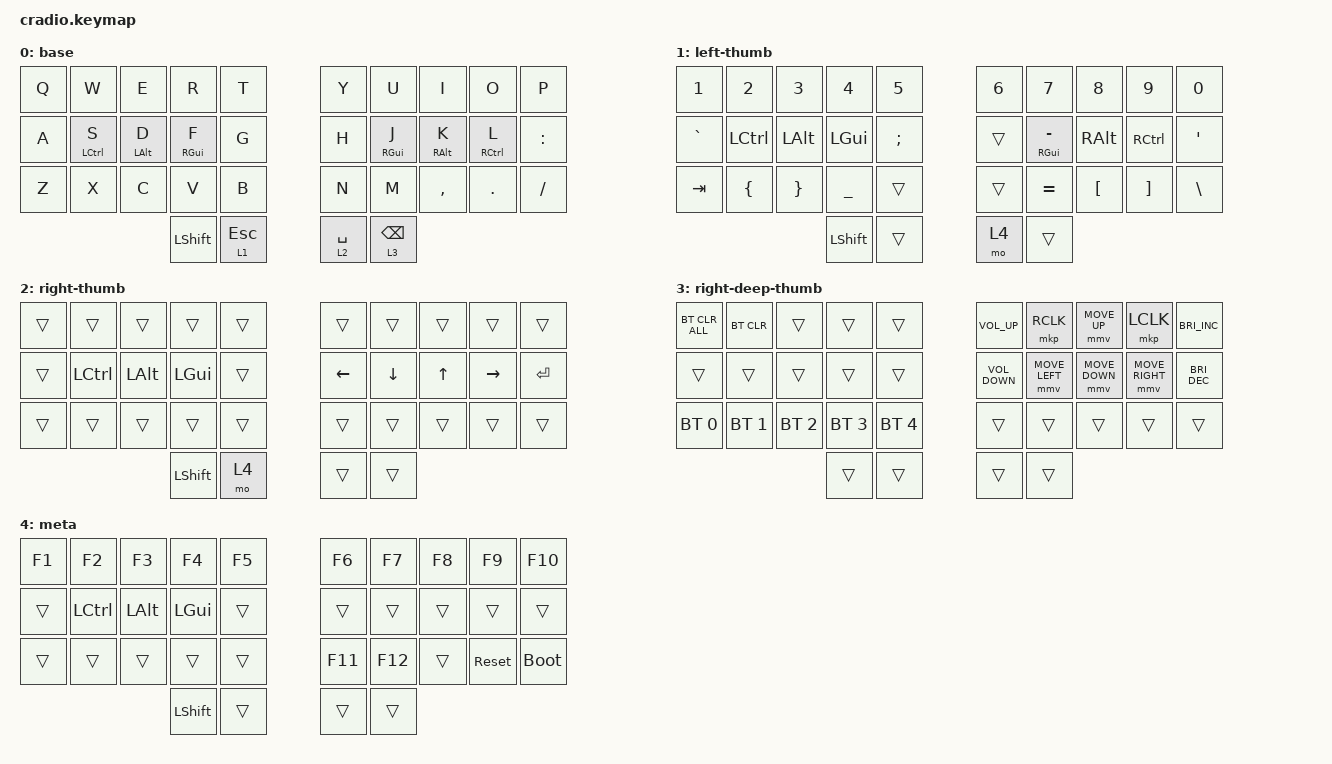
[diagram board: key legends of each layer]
// Copyright (c) 2022 The ZMK Contributors
// SPDX-License-Identifier: MIT

#define ZMK_POINTING_DEFAULT_MOVE_VAL 1500 // default 600

#include <behaviors.dtsi>
#include <dt-bindings/zmk/bt.h>
#include <dt-bindings/zmk/keys.h>
#include <dt-bindings/zmk/pointing.h>

// Home row mods macro
// #define HRML(k1,k2,k3,k4) &ht LSHFT k1  &ht LALT k2  &ht LCTRL k3  &ht LGUI k4
// #define HRMR(k1,k2,k3,k4) &ht RGUI k1  &ht RCTRL k2  &ht RALT k3  &ht RSHFT k4

&mt {
    tapping-term-ms = <200>;
    flavor = "tap-preferred";
};

/ {
    conditional_layers { compatible = "zmk,conditional-layers"; };

    combos {
        compatible = "zmk,combos";
    };

    keymap {
        compatible = "zmk,keymap";

        // layer 0
        base {
            bindings = <
// ╭───────────┬───────────┬───────────┬───────────┬───────────╮ ╭───────────┬───────────┬───────────┬───────────┬───────────╮
        &kp Q       &kp W       &kp E       &kp R       &kp T       &kp Y       &kp U       &kp I       &kp O       &kp P
// ├───────────┼───────────┼───────────┼───────────┼───────────┤ ├───────────┼───────────┼───────────┼───────────┼───────────┤
        &kp A    &mt LCTRL S &mt LALT D  &mt RGUI F     &kp G       &kp H     &mt RGUI J  &mt RALT K  &mt RCTRL L  &kp COLON
// ├───────────┼───────────┼───────────┼───────────┼───────────┤ ├───────────┼───────────┼───────────┼───────────┼───────────┤
        &kp Z       &kp X       &kp C       &kp V       &kp B       &kp N       &kp M       &kp COMMA   &kp DOT     &kp FSLH
// ╰───────────┴───────────┴───────────┼───────────┼───────────┤ ├───────────┼───────────┼───────────┴───────────┴───────────╯
                                        &kp LSHIFT   &lt 1 ESC     &lt 2 SPACE  &lt 3 BSPC
//                                     ╰───────────┴───────────╯ ╰───────────┴───────────╯
            >;
        };
        // layer 1
        left-thumb {
            bindings = <
// ╭───────────┬───────────┬───────────┬───────────┬───────────╮ ╭───────────┬───────────┬───────────┬───────────┬───────────╮
        &kp N1      &kp N2      &kp N3      &kp N4      &kp N5      &kp N6      &kp N7      &kp N8      &kp N9      &kp N0
// ├───────────┼───────────┼───────────┼───────────┼───────────┤ ├───────────┼───────────┼───────────┼───────────┼───────────┤
     &kp GRAVE   &kp LCTRL   &kp LALT   &kp LGUI   &kp SEMICOLON    &trans  &mt RGUI MINUS &kp RALT  &kp RIGHT_CONTROL &kp SQT
// ├───────────┼───────────┼───────────┼───────────┼───────────┤ ├───────────┼───────────┼───────────┼───────────┼───────────┤
    &kp TAB  &kp LEFT_BRACE &kp RIGHT_BRACE &kp UNDER  &trans      &trans      &kp EQUAL    &kp LBKT   &kp RBKT    &kp BSLH
// ╰───────────┴───────────┴───────────┼───────────┼───────────┤ ├───────────┼───────────┼───────────┴───────────┴───────────╯
                                            &kp LSHIFT  &trans      &mo 4      &trans
//                                     ╰───────────┴───────────╯ ╰───────────┴───────────╯
            >;
        };
        // layer 2
        right-thumb {
            bindings = <
// ╭───────────┬───────────┬───────────┬───────────┬───────────╮ ╭───────────┬───────────┬───────────┬───────────┬───────────╮
        &trans      &trans      &trans      &trans      &trans      &trans      &trans      &trans      &trans      &trans
// ├───────────┼───────────┼───────────┼───────────┼───────────┤ ├───────────┼───────────┼───────────┼───────────┼───────────┤
       &trans      &kp LCTRL   &kp LALT    &kp LGUI    &trans      &kp LEFT    &kp DOWN    &kp UP      &kp RIGHT   &kp RET
// ├───────────┼───────────┼───────────┼───────────┼───────────┤ ├───────────┼───────────┼───────────┼───────────┼───────────┤
        &trans      &trans      &trans      &trans      &trans      &trans      &trans      &trans      &trans      &trans
// ╰───────────┴───────────┴───────────┼───────────┼───────────┤ ├───────────┼───────────┼───────────┴───────────┴───────────╯
                                            &kp LSHIFT  &mo 4      &trans      &trans
//                                     ╰───────────┴───────────╯ ╰───────────┴───────────╯
            >;
        };
        // layer 3
        right-deep-thumb {
            bindings = <
// ╭───────────┬───────────┬───────────┬───────────┬───────────╮ ╭───────────┬───────────┬───────────┬───────────┬───────────╮
    &bt BT_CLR_ALL &bt BT_CLR &trans &trans &trans          &kp C_VOLUME_UP     &mkp RCLK       &mmv MOVE_UP    &mkp LCLK       &kp C_BRIGHTNESS_INC
// ├───────────┼───────────┼───────────┼───────────┼───────────┤ ├───────────┼───────────┼───────────┼───────────┼───────────┤
    &trans &trans &trans &trans &trans                      &kp C_VOLUME_DOWN   &mmv MOVE_LEFT  &mmv MOVE_DOWN  &mmv MOVE_RIGHT &kp C_BRIGHTNESS_DEC
// ├───────────┼───────────┼───────────┼───────────┼───────────┤ ├───────────┼───────────┼───────────┼───────────┼───────────┤
    &bt BT_SEL 0 &bt BT_SEL 1 &bt BT_SEL 2 &bt BT_SEL 3 &bt BT_SEL 4 &trans     &trans     &trans      &trans       &trans
// ╰───────────┴───────────┴───────────┼───────────┼───────────┤ ├───────────┼───────────┼───────────┴───────────┴───────────╯
                                            &trans      &trans      &trans      &trans
//                                     ╰───────────┴───────────╯ ╰───────────┴───────────╯

            >;
        };
        // layer 4
        meta {
            bindings = <
// ╭───────────┬───────────┬───────────┬───────────┬───────────╮ ╭───────────┬───────────┬───────────┬───────────┬───────────╮
     &kp F1        &kp F2      &kp F3     &kp F4      &kp F5         &kp F6       &kp F7      &kp F8     &kp F9     &kp F10
// ├───────────┼───────────┼───────────┼───────────┼───────────┤ ├───────────┼───────────┼───────────┼───────────┼───────────┤
     &trans    &kp LCTRL   &kp LEFT_ALT  &kp LGUI     &trans        &trans      &trans     &trans      &trans      &trans
// ├───────────┼───────────┼───────────┼───────────┼───────────┤ ├───────────┼───────────┼───────────┼───────────┼───────────┤
     &trans        &trans     &trans      &trans      &trans         &kp F11     &kp F12    &trans    &sys_reset  &bootloader
// ╰───────────┴───────────┴───────────┼───────────┼───────────┤ ├───────────┼───────────┼───────────┴───────────┴───────────╯
                                          &kp LSHIFT  &trans         &trans      &trans
//                                     ╰───────────┴───────────╯ ╰───────────┴───────────╯
            >;
        };
    };
};
